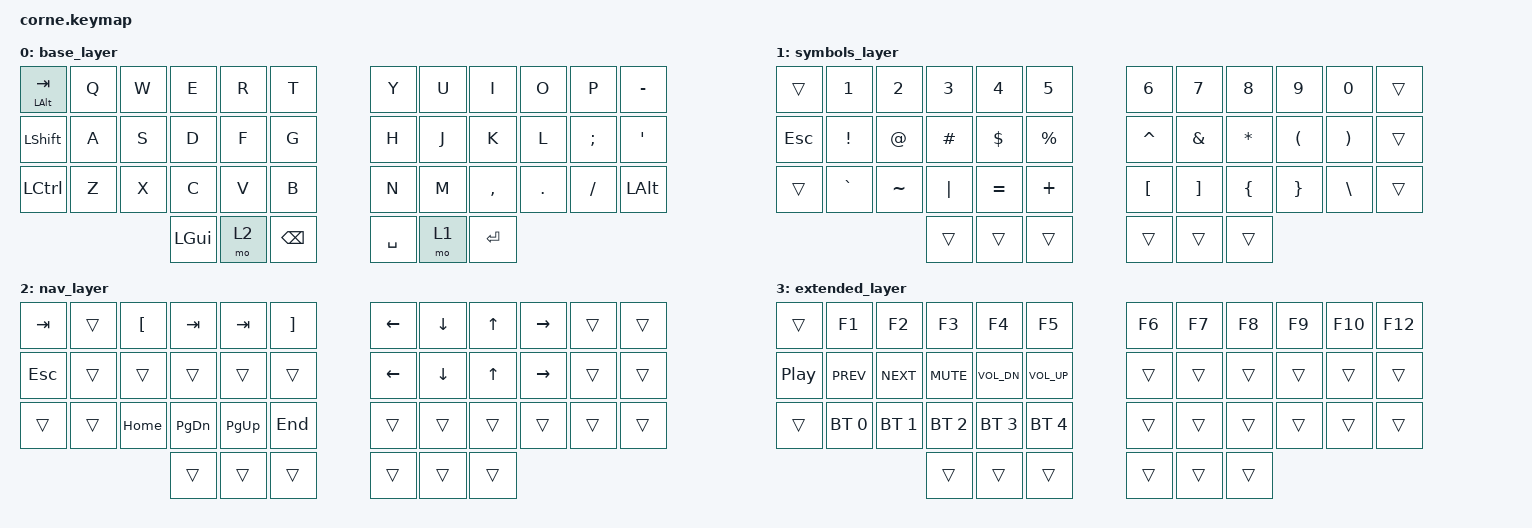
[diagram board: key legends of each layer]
#include <behaviors.dtsi>
#include <dt-bindings/zmk/bt.h>
#include <dt-bindings/zmk/keys.h>
#include <dt-bindings/zmk/rgb.h>

&led_strip {
  chain-length = <0>;
  // chain-length = <27>;
  // 21 backlight + 6 glowlight
};


#define TAPPING_TERM 200

/ {
  behaviors {
    /*
    * td_lock groups locking functions into one key:
    *  - tap once to lock the host
    *  - tap twice to put the host to sleep
    */

    td_lock: tap_dance_lock {
      compatible = "zmk,behavior-tap-dance";
      #binding-cells = <0>;
      tapping-term-ms = <TAPPING_TERM>;
      bindings = <&kp LG(LC(Q))>, <&kp LG(LA(C_EJECT))>;
    };
  };

  combos {
    compatible = "zmk,combos";

    Clear_BLE_Profile {
      bindings = <&bt BT_CLR>;
      key-positions = <0 38 5>;
    };

    Space {
      bindings = <&kp SPACE>;
      key-positions = <29 28>;
    };

    Enter {
      bindings = <&kp ENTER>;
      key-positions = <17 16>;
    };

    Capslock {
      bindings = <&kp CLCK>;
      key-positions = <5 6>;
    };
  };

  macros {
    git_status: git_status {
      compatible = "zmk,behavior-macro";
      #binding-cells = <0>;
      bindings = <&kp G &kp I &kp T &kp SPACE &kp S &kp T &kp A &kp T &kp U &kp S>;
    };
    git_commit_all: git_commit_all {
      compatible = "zmk,behavior-macro";
      #binding-cells = <0>;
      bindings = <&kp G &kp I &kp T &kp SPACE &kp C &kp O &kp M &kp M &kp I &kp T &kp SPACE &kp MINUS &kp A &kp MINUS &kp M &kp SPACE &kp DQT &kp DQT &kp LEFT_ARROW>;
    };
  };

  / {
  keymap {
    compatible = "zmk,keymap";

    base_layer {
      bindings = <
&mt LALT TAB  &kp Q  &kp W  &kp E  &kp R  &kp T      &kp Y  &kp U  &kp I  &kp O  &kp P  &kp MINUS
&kp LSHIFT    &kp A  &kp S  &kp D  &kp F  &kp G      &kp H  &kp J  &kp K  &kp L  &kp SEMI &kp SQT
&kp LCTRL     &kp Z  &kp X  &kp C  &kp V  &kp B      &kp N  &kp M  &kp COMMA &kp DOT &kp SLASH &kp LALT
                        &kp LGUI &mo 2 &kp BSPC   &kp SPACE &mo 1 &kp ENTER
      >;
    };

    symbols_layer {
      bindings = <
&trans &kp N1 &kp N2 &kp N3 &kp N4 &kp N5      &kp N6 &kp N7 &kp N8 &kp N9 &kp N0 &trans
&kp ESC &kp EXCL &kp AT &kp HASH &kp DLLR &kp PRCNT   &kp CARET &kp AMPS &kp STAR &kp LPAR &kp RPAR &trans
&trans &kp GRAVE &kp TILDE &kp PIPE &kp EQUAL &kp PLUS   &kp LBKT &kp RBKT &kp LBRC &kp RBRC &kp BSLH &trans
                    &trans &trans &trans     &trans &trans &trans
      >;
    };

    nav_layer {
      bindings = <
&kp TAB &trans &kp LBKT &kp TAB &kp TAB &kp RBKT   &kp LEFT &kp DOWN &kp UP &kp RIGHT &trans &trans
&kp ESC &trans &trans &trans &trans &trans         &kp LEFT &kp DOWN &kp UP &kp RIGHT &trans &trans
&trans &trans &kp HOME &kp PG_DN &kp PG_UP &kp END &trans &trans &trans &trans &trans &trans
                    &trans &trans &trans   &trans &trans &trans
      >;
    };

    extended_layer {
      bindings = <
&trans &kp F1 &kp F2 &kp F3 &kp F4 &kp F5      &kp F6 &kp F7 &kp F8 &kp F9 &kp F10 &kp F12
&kp C_PP &kp C_PREV &kp C_NEXT &kp C_MUTE &kp C_VOL_DN &kp C_VOL_UP   &trans &trans &trans &trans &trans &trans
&trans &bt BT_SEL 0 &bt BT_SEL 1 &bt BT_SEL 2 &bt BT_SEL 3 &bt BT_SEL 4   &trans &trans &trans &trans &trans &trans
                    &trans &trans &trans     &trans &trans &trans
      >;
    };
  };

  conditional_layers {
    compatible = "zmk,conditional-layers";

    ext_layer {
      if-layers = <1 2>;
      then-layer = <3>;
    };
  };
};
